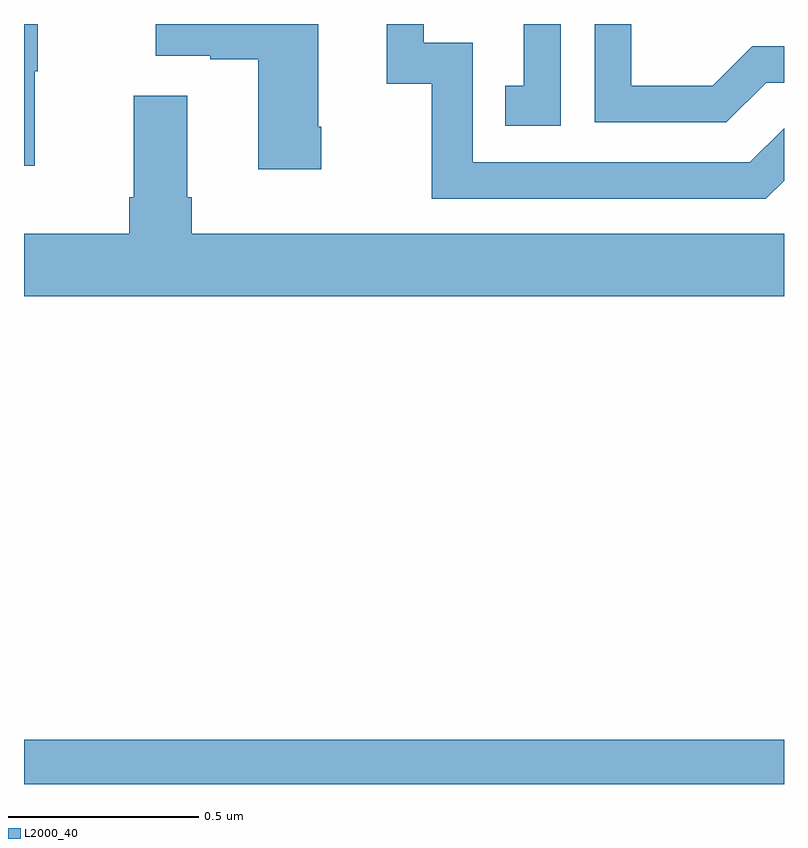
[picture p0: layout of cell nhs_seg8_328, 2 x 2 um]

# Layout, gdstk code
import gdstk
lib = gdstk.Library(unit=1e-6, precision=1e-09)
def R(c, l, rs):  # rectangles x0, y0, x1, y1
    for r in rs: c.add(gdstk.rectangle(r[:2], r[2:], *l))
def P(c, l, *ps):  # polygons
    for p in ps: c.add(gdstk.Polygon(p, *l))
L2000_40 = (2000, 40)

nhs_seg8_328 = lib.new_cell('nhs_seg8_328')
R(nhs_seg8_328, L2000_40, [(115,1097.9,117,1098.016)])
P(nhs_seg8_328, L2000_40, [(115.028,1099.776),(115.036,1099.776),(115.036,1099.9),(115,1099.9),(115,1099.527),(115.028,1099.527)],
  [(117,1099.488),(117,1099.626),(116.91,1099.536),(116.181,1099.536),(116.181,1099.851),(116.052,1099.851),(116.052,1099.9),(115.955,1099.9),(115.955,1099.743),(116.073,1099.743),(116.073,1099.44),(116.952,1099.44)],
  [(116.953,1099.746),(117,1099.746),(117,1099.842),(116.916,1099.842),(116.812,1099.738),(116.598,1099.738),(116.598,1099.9),(116.502,1099.9),(116.502,1099.641),(116.848,1099.641)],
  [(116.412,1099.9),(116.315,1099.9),(116.315,1099.737),(116.266,1099.737),(116.266,1099.632),(116.412,1099.632)],
  [(115.782,1099.63),(115.774,1099.63),(115.774,1099.9),(115.347,1099.9),(115.347,1099.817),(115.49,1099.817),(115.49,1099.807),(115.616,1099.807),(115.616,1099.518),(115.782,1099.518)],
  [(117,1099.348),(115.442,1099.348),(115.442,1099.444),(115.429,1099.444),(115.429,1099.711),(115.289,1099.711),(115.289,1099.444),(115.277,1099.444),(115.277,1099.348),(115,1099.348),(115,1099.184),(117,1099.184)])

lib.write_gds('nhs_seg8_328.gds')
